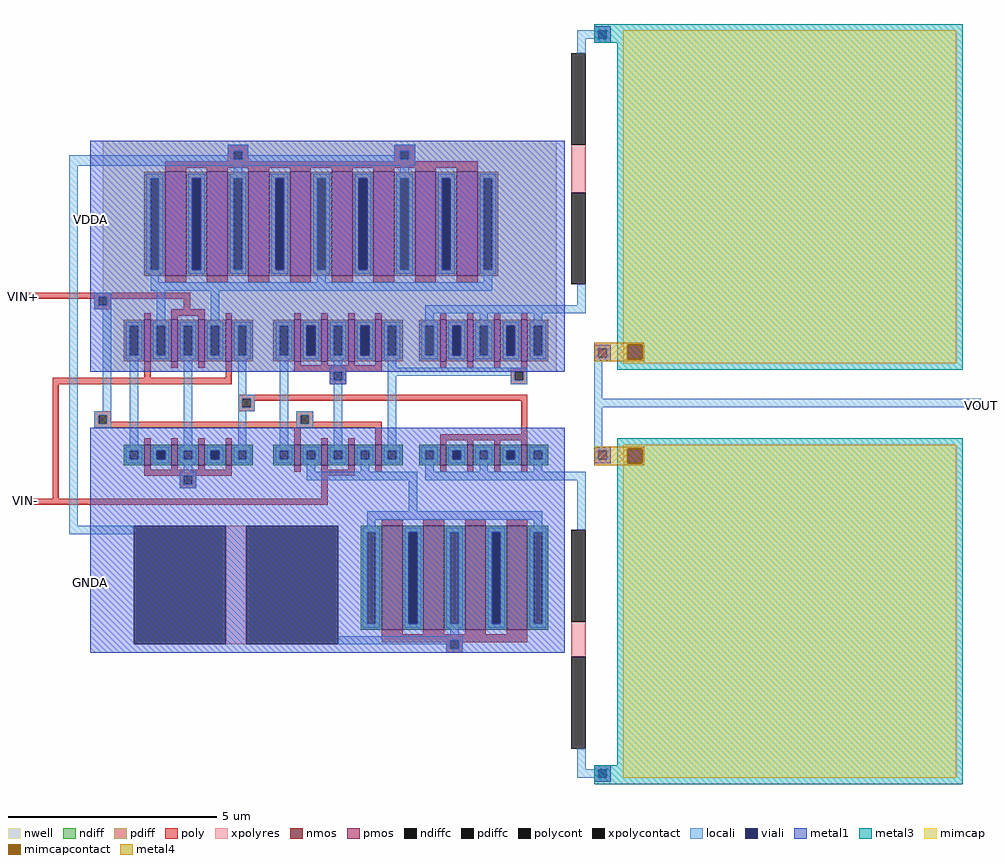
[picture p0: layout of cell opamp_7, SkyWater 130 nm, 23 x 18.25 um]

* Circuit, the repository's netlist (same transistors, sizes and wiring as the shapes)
* NGSPICE file created from opamp_7.ext - technology: sky130A

.subckt opamp_7
X0 a_2040_n1110# a_2040_n1110# VDDA w_1890_200# sky130_fd_pr__pfet_01v8 ad=0.625 pd=3 as=0.625 ps=3 w=2.5 l=0.5
X1 c1_4390_240# m3_4250_1780# sky130_fd_pr__cap_mim_m3_1 l=8 w=8
X2 a_2510_n250# a_2090_n300# GNDA VSUBS sky130_fd_pr__nfet_01v8 ad=0.25 pd=2 as=0.125 ps=1 w=0.5 l=0.15
X3 a_2810_200# VIN- a_2840_n250# VSUBS sky130_fd_pr__nfet_01v8 ad=0.125 pd=1 as=0.125 ps=1 w=0.5 l=0.15
X4 c1_4390_n1750# m3_4250_n1780# sky130_fd_pr__cap_mim_m3_1 l=8 w=8
X5 VDDA a_2040_n1110# a_2040_n1110# w_1890_200# sky130_fd_pr__pfet_01v8 ad=0.625 pd=3 as=0.625 ps=3 w=2.5 l=0.5
X6 a_2090_660# VIN- a_1990_n250# w_1890_200# sky130_fd_pr__pfet_01v8 ad=0.25 pd=1.5 as=0.5 ps=3 w=1 l=0.15
X7 a_3410_n250# a_2510_n250# GNDA VSUBS sky130_fd_pr__nfet_01v8 ad=0.25 pd=2 as=0.125 ps=1 w=0.5 l=0.15
X8 a_2510_n250# VIN- a_2090_660# w_1890_200# sky130_fd_pr__pfet_01v8 ad=0.5 pd=3 as=0.25 ps=1.5 w=1 l=0.15
X9 a_2840_n250# VIN+ a_2710_n250# VSUBS sky130_fd_pr__nfet_01v8 ad=0.125 pd=1 as=0.25 ps=2 w=0.5 l=0.15
X10 GNDA a_2580_n1110# a_2580_n1110# VSUBS sky130_fd_pr__nfet_01v8 ad=0.625 pd=3 as=0.625 ps=3 w=2.5 l=0.5
X11 GNDA a_2090_n300# a_2090_n300# VSUBS sky130_fd_pr__nfet_01v8 ad=0.125 pd=1 as=0.125 ps=1 w=0.5 l=0.15
X12 a_2090_660# VIN+ a_2090_n300# w_1890_200# sky130_fd_pr__pfet_01v8 ad=0.25 pd=1.5 as=0.25 ps=1.5 w=1 l=0.15
X13 a_2840_n250# VIN- a_2810_200# VSUBS sky130_fd_pr__nfet_01v8 ad=0.125 pd=1 as=0.125 ps=1 w=0.5 l=0.15
X14 VDDA a_2040_n1110# a_2090_660# w_1890_200# sky130_fd_pr__pfet_01v8 ad=0.625 pd=3 as=1.25 ps=6 w=2.5 l=0.5
X15 a_2090_n300# VIN+ a_2090_660# w_1890_200# sky130_fd_pr__pfet_01v8 ad=0.25 pd=1.5 as=0.25 ps=1.5 w=1 l=0.15
X16 VDDA a_3770_220# a_3410_250# w_1890_200# sky130_fd_pr__pfet_01v8 ad=0.25 pd=1.5 as=0.25 ps=1.5 w=1 l=0.15
X17 a_2090_n300# a_2090_n300# GNDA VSUBS sky130_fd_pr__nfet_01v8 ad=0.125 pd=1 as=0.125 ps=1 w=0.5 l=0.15
X18 a_3410_250# a_3640_220# VDDA w_1890_200# sky130_fd_pr__pfet_01v8 ad=0.25 pd=1.5 as=0.25 ps=1.5 w=1 l=0.15
X19 a_2580_n1110# a_2580_n1110# GNDA VSUBS sky130_fd_pr__nfet_01v8 ad=0.625 pd=3 as=0.625 ps=3 w=2.5 l=0.5
X20 VDDA a_2810_200# a_2810_200# w_1890_200# sky130_fd_pr__pfet_01v8 ad=0.25 pd=1.5 as=0.25 ps=1.5 w=1 l=0.15
X21 VDDA a_2040_n1110# a_2040_n1110# w_1890_200# sky130_fd_pr__pfet_01v8 ad=0.625 pd=3 as=0.625 ps=3 w=2.5 l=0.5
X22 VDDA a_3510_220# a_3410_250# w_1890_200# sky130_fd_pr__pfet_01v8 ad=0.25 pd=1.5 as=0.5 ps=3 w=1 l=0.15
X23 a_4140_1290# a_3410_250# VSUBS sky130_fd_pr__res_xhigh_po_0p35 l=1.31
X24 a_2090_660# a_2040_n1110# VDDA w_1890_200# sky130_fd_pr__pfet_01v8 ad=0.625 pd=3 as=0.625 ps=3 w=2.5 l=0.5
X25 a_3410_250# a_3230_n250# VDDA w_1890_200# sky130_fd_pr__pfet_01v8 ad=0.5 pd=3 as=0.25 ps=1.5 w=1 l=0.15
X26 GNDA a_2580_n1110# a_2840_n250# VSUBS sky130_fd_pr__nfet_01v8 ad=0.625 pd=3 as=1.25 ps=6 w=2.5 l=0.5
X27 GNDA a_2510_n250# a_3410_n250# VSUBS sky130_fd_pr__nfet_01v8 ad=0.125 pd=1 as=0.125 ps=1 w=0.5 l=0.15
X28 a_3230_n250# a_2810_200# VDDA w_1890_200# sky130_fd_pr__pfet_01v8 ad=0.5 pd=3 as=0.25 ps=1.5 w=1 l=0.15
X29 a_2040_n1110# a_2580_n1110# VSUBS sky130_fd_pr__res_xhigh_po_2p85 l=0.66
X30 a_2040_n1110# a_2040_n1110# VDDA w_1890_200# sky130_fd_pr__pfet_01v8 ad=0.625 pd=3 as=0.625 ps=3 w=2.5 l=0.5
X31 a_3410_n250# a_2510_n250# GNDA VSUBS sky130_fd_pr__nfet_01v8 ad=0.125 pd=1 as=0.125 ps=1 w=0.5 l=0.15
X32 a_2810_200# a_2810_200# VDDA w_1890_200# sky130_fd_pr__pfet_01v8 ad=0.25 pd=1.5 as=0.25 ps=1.5 w=1 l=0.15
X33 GNDA a_2090_n300# a_1990_n250# VSUBS sky130_fd_pr__nfet_01v8 ad=0.125 pd=1 as=0.25 ps=2 w=0.5 l=0.15
X34 VDDA a_2810_200# a_2710_n250# w_1890_200# sky130_fd_pr__pfet_01v8 ad=0.25 pd=1.5 as=0.5 ps=3 w=1 l=0.15
X35 a_2090_660# a_2040_n1110# VDDA w_1890_200# sky130_fd_pr__pfet_01v8 ad=1.25 pd=6 as=0.625 ps=3 w=2.5 l=0.5
X36 a_3230_n250# VIN+ a_2840_n250# VSUBS sky130_fd_pr__nfet_01v8 ad=0.25 pd=2 as=0.125 ps=1 w=0.5 l=0.15
X37 GNDA a_2510_n250# a_3410_n250# VSUBS sky130_fd_pr__nfet_01v8 ad=0.125 pd=1 as=0.25 ps=2 w=0.5 l=0.15
X38 VDDA a_2040_n1110# a_2090_660# w_1890_200# sky130_fd_pr__pfet_01v8 ad=0.625 pd=3 as=0.625 ps=3 w=2.5 l=0.5
X39 a_2840_n250# a_2580_n1110# GNDA VSUBS sky130_fd_pr__nfet_01v8 ad=1.25 pd=6 as=0.625 ps=3 w=2.5 l=0.5
X40 a_3410_n250# a_4140_n1610# VSUBS sky130_fd_pr__res_xhigh_po_0p35 l=1.01
.ends

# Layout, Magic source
magic
tech sky130A
<< nwell >>
rect 945 100 2035 655
<< nmos >>
rect 1045 -125 1060 -75
rect 1110 -125 1125 -75
rect 1175 -125 1190 -75
rect 1240 -125 1255 -75
rect 1405 -125 1420 -75
rect 1470 -125 1485 -75
rect 1535 -125 1550 -75
rect 1600 -125 1615 -75
rect 1755 -125 1770 -75
rect 1820 -125 1835 -75
rect 1885 -125 1900 -75
rect 1950 -125 1965 -75
rect 1615 -520 1665 -270
rect 1715 -520 1765 -270
rect 1815 -520 1865 -270
rect 1915 -520 1965 -270
<< pmos >>
rect 1095 330 1145 580
rect 1195 330 1245 580
rect 1295 330 1345 580
rect 1395 330 1445 580
rect 1495 330 1545 580
rect 1595 330 1645 580
rect 1695 330 1745 580
rect 1795 330 1845 580
rect 1045 125 1060 225
rect 1110 125 1125 225
rect 1175 125 1190 225
rect 1240 125 1255 225
rect 1405 125 1420 225
rect 1470 125 1485 225
rect 1535 125 1550 225
rect 1600 125 1615 225
rect 1755 125 1770 225
rect 1820 125 1835 225
rect 1885 125 1900 225
rect 1950 125 1965 225
<< ndiff >>
rect 995 -90 1045 -75
rect 995 -110 1010 -90
rect 1030 -110 1045 -90
rect 995 -125 1045 -110
rect 1060 -90 1110 -75
rect 1060 -110 1075 -90
rect 1095 -110 1110 -90
rect 1060 -125 1110 -110
rect 1125 -90 1175 -75
rect 1125 -110 1140 -90
rect 1160 -110 1175 -90
rect 1125 -125 1175 -110
rect 1190 -90 1240 -75
rect 1190 -110 1205 -90
rect 1225 -110 1240 -90
rect 1190 -125 1240 -110
rect 1255 -90 1305 -75
rect 1255 -110 1270 -90
rect 1290 -110 1305 -90
rect 1255 -125 1305 -110
rect 1355 -90 1405 -75
rect 1355 -110 1370 -90
rect 1390 -110 1405 -90
rect 1355 -125 1405 -110
rect 1420 -90 1470 -75
rect 1420 -110 1435 -90
rect 1455 -110 1470 -90
rect 1420 -125 1470 -110
rect 1485 -90 1535 -75
rect 1485 -110 1500 -90
rect 1520 -110 1535 -90
rect 1485 -125 1535 -110
rect 1550 -90 1600 -75
rect 1550 -110 1565 -90
rect 1585 -110 1600 -90
rect 1550 -125 1600 -110
rect 1615 -90 1665 -75
rect 1615 -110 1630 -90
rect 1650 -110 1665 -90
rect 1615 -125 1665 -110
rect 1705 -90 1755 -75
rect 1705 -110 1720 -90
rect 1740 -110 1755 -90
rect 1705 -125 1755 -110
rect 1770 -90 1820 -75
rect 1770 -110 1785 -90
rect 1805 -110 1820 -90
rect 1770 -125 1820 -110
rect 1835 -90 1885 -75
rect 1835 -110 1850 -90
rect 1870 -110 1885 -90
rect 1835 -125 1885 -110
rect 1900 -90 1950 -75
rect 1900 -110 1915 -90
rect 1935 -110 1950 -90
rect 1900 -125 1950 -110
rect 1965 -90 2015 -75
rect 1965 -110 1980 -90
rect 2000 -110 2015 -90
rect 1965 -125 2015 -110
rect 1565 -285 1615 -270
rect 1565 -505 1580 -285
rect 1600 -505 1615 -285
rect 1565 -520 1615 -505
rect 1665 -285 1715 -270
rect 1665 -505 1680 -285
rect 1700 -505 1715 -285
rect 1665 -520 1715 -505
rect 1765 -285 1815 -270
rect 1765 -505 1780 -285
rect 1800 -505 1815 -285
rect 1765 -520 1815 -505
rect 1865 -285 1915 -270
rect 1865 -505 1880 -285
rect 1900 -505 1915 -285
rect 1865 -520 1915 -505
rect 1965 -285 2015 -270
rect 1965 -505 1980 -285
rect 2000 -505 2015 -285
rect 1965 -520 2015 -505
<< pdiff >>
rect 1045 565 1095 580
rect 1045 345 1060 565
rect 1080 345 1095 565
rect 1045 330 1095 345
rect 1145 565 1195 580
rect 1145 345 1160 565
rect 1180 345 1195 565
rect 1145 330 1195 345
rect 1245 565 1295 580
rect 1245 345 1260 565
rect 1280 345 1295 565
rect 1245 330 1295 345
rect 1345 565 1395 580
rect 1345 345 1360 565
rect 1380 345 1395 565
rect 1345 330 1395 345
rect 1445 565 1495 580
rect 1445 345 1460 565
rect 1480 345 1495 565
rect 1445 330 1495 345
rect 1545 565 1595 580
rect 1545 345 1560 565
rect 1580 345 1595 565
rect 1545 330 1595 345
rect 1645 565 1695 580
rect 1645 345 1660 565
rect 1680 345 1695 565
rect 1645 330 1695 345
rect 1745 565 1795 580
rect 1745 345 1760 565
rect 1780 345 1795 565
rect 1745 330 1795 345
rect 1845 565 1895 580
rect 1845 345 1860 565
rect 1880 345 1895 565
rect 1845 330 1895 345
rect 995 210 1045 225
rect 995 140 1010 210
rect 1030 140 1045 210
rect 995 125 1045 140
rect 1060 210 1110 225
rect 1060 140 1075 210
rect 1095 140 1110 210
rect 1060 125 1110 140
rect 1125 210 1175 225
rect 1125 140 1140 210
rect 1160 140 1175 210
rect 1125 125 1175 140
rect 1190 210 1240 225
rect 1190 140 1205 210
rect 1225 140 1240 210
rect 1190 125 1240 140
rect 1255 210 1305 225
rect 1255 140 1270 210
rect 1290 140 1305 210
rect 1255 125 1305 140
rect 1355 210 1405 225
rect 1355 140 1370 210
rect 1390 140 1405 210
rect 1355 125 1405 140
rect 1420 210 1470 225
rect 1420 140 1435 210
rect 1455 140 1470 210
rect 1420 125 1470 140
rect 1485 210 1535 225
rect 1485 140 1500 210
rect 1520 140 1535 210
rect 1485 125 1535 140
rect 1550 210 1600 225
rect 1550 140 1565 210
rect 1585 140 1600 210
rect 1550 125 1600 140
rect 1615 210 1665 225
rect 1615 140 1630 210
rect 1650 140 1665 210
rect 1615 125 1665 140
rect 1705 210 1755 225
rect 1705 140 1720 210
rect 1740 140 1755 210
rect 1705 125 1755 140
rect 1770 210 1820 225
rect 1770 140 1785 210
rect 1805 140 1820 210
rect 1770 125 1820 140
rect 1835 210 1885 225
rect 1835 140 1850 210
rect 1870 140 1885 210
rect 1835 125 1885 140
rect 1900 210 1950 225
rect 1900 140 1915 210
rect 1935 140 1950 210
rect 1900 125 1950 140
rect 1965 210 2015 225
rect 1965 140 1980 210
rect 2000 140 2015 210
rect 1965 125 2015 140
<< ndiffc >>
rect 1010 -110 1030 -90
rect 1075 -110 1095 -90
rect 1140 -110 1160 -90
rect 1205 -110 1225 -90
rect 1270 -110 1290 -90
rect 1370 -110 1390 -90
rect 1435 -110 1455 -90
rect 1500 -110 1520 -90
rect 1565 -110 1585 -90
rect 1630 -110 1650 -90
rect 1720 -110 1740 -90
rect 1785 -110 1805 -90
rect 1850 -110 1870 -90
rect 1915 -110 1935 -90
rect 1980 -110 2000 -90
rect 1580 -505 1600 -285
rect 1680 -505 1700 -285
rect 1780 -505 1800 -285
rect 1880 -505 1900 -285
rect 1980 -505 2000 -285
<< pdiffc >>
rect 1060 345 1080 565
rect 1160 345 1180 565
rect 1260 345 1280 565
rect 1360 345 1380 565
rect 1460 345 1480 565
rect 1560 345 1580 565
rect 1660 345 1680 565
rect 1760 345 1780 565
rect 1860 345 1880 565
rect 1010 140 1030 210
rect 1075 140 1095 210
rect 1140 140 1160 210
rect 1205 140 1225 210
rect 1270 140 1290 210
rect 1370 140 1390 210
rect 1435 140 1455 210
rect 1500 140 1520 210
rect 1565 140 1585 210
rect 1630 140 1650 210
rect 1720 140 1740 210
rect 1785 140 1805 210
rect 1850 140 1870 210
rect 1915 140 1935 210
rect 1980 140 2000 210
<< poly >>
rect 1245 630 1295 645
rect 1245 610 1260 630
rect 1280 610 1295 630
rect 1245 605 1295 610
rect 1645 630 1695 645
rect 1645 610 1660 630
rect 1680 610 1695 630
rect 1645 605 1695 610
rect 1095 590 1845 605
rect 1095 580 1145 590
rect 1195 580 1245 590
rect 1295 580 1345 590
rect 1395 580 1445 590
rect 1495 580 1545 590
rect 1595 580 1645 590
rect 1695 580 1745 590
rect 1795 580 1845 590
rect 1095 315 1145 330
rect 1195 315 1245 330
rect 1295 315 1345 330
rect 1395 315 1445 330
rect 1495 315 1545 330
rect 1595 315 1645 330
rect 1695 315 1745 330
rect 1795 315 1845 330
rect 755 280 1155 290
rect 755 275 935 280
rect 925 260 935 275
rect 955 275 1155 280
rect 955 260 965 275
rect 925 250 965 260
rect 1140 250 1155 275
rect 1045 225 1060 240
rect 1110 235 1190 250
rect 1110 225 1125 235
rect 1175 225 1190 235
rect 1240 225 1255 240
rect 1405 225 1420 240
rect 1470 225 1485 240
rect 1535 225 1550 240
rect 1600 225 1615 240
rect 1755 225 1770 240
rect 1820 225 1835 240
rect 1885 225 1900 240
rect 1950 225 1965 240
rect 1045 85 1060 125
rect 1110 110 1125 125
rect 1175 110 1190 125
rect 1240 85 1255 125
rect 1405 115 1420 125
rect 1470 115 1485 125
rect 1535 115 1550 125
rect 1600 115 1615 125
rect 1405 100 1615 115
rect 1755 110 1770 125
rect 1820 110 1835 125
rect 1885 110 1900 125
rect 1950 110 1965 125
rect 1925 100 1965 110
rect 825 70 1255 85
rect 1490 80 1500 100
rect 1520 80 1530 100
rect 1490 70 1530 80
rect 1925 80 1935 100
rect 1955 80 1965 100
rect 1925 70 1965 80
rect 825 -205 840 70
rect 1270 35 1965 45
rect 1270 15 1280 35
rect 1300 30 1965 35
rect 1300 15 1310 30
rect 1270 5 1310 15
rect 925 -5 965 5
rect 925 -25 935 -5
rect 955 -20 965 -5
rect 1410 -5 1450 5
rect 1410 -20 1420 -5
rect 955 -25 1420 -20
rect 1440 -20 1450 -5
rect 1440 -25 1615 -20
rect 925 -35 1615 -25
rect 1045 -75 1060 -60
rect 1110 -75 1125 -60
rect 1175 -75 1190 -60
rect 1240 -75 1255 -60
rect 1405 -75 1420 -35
rect 1470 -75 1485 -60
rect 1535 -75 1550 -60
rect 1600 -75 1615 -35
rect 1950 -50 1965 30
rect 1755 -65 1965 -50
rect 1755 -75 1770 -65
rect 1820 -75 1835 -65
rect 1885 -75 1900 -65
rect 1950 -75 1965 -65
rect 1045 -135 1060 -125
rect 1110 -135 1125 -125
rect 1175 -135 1190 -125
rect 1240 -135 1255 -125
rect 1045 -150 1255 -135
rect 1405 -140 1420 -125
rect 1470 -135 1485 -125
rect 1535 -135 1550 -125
rect 1470 -150 1550 -135
rect 1600 -140 1615 -125
rect 1755 -140 1770 -125
rect 1820 -140 1835 -125
rect 1885 -140 1900 -125
rect 1950 -140 1965 -125
rect 1130 -170 1140 -150
rect 1160 -170 1170 -150
rect 1130 -180 1170 -170
rect 1470 -205 1485 -150
rect 760 -220 1485 -205
rect 1615 -270 1665 -255
rect 1715 -270 1765 -255
rect 1815 -270 1865 -255
rect 1915 -270 1965 -255
rect 1615 -530 1665 -520
rect 1715 -530 1765 -520
rect 1815 -530 1865 -520
rect 1915 -530 1965 -520
rect 1615 -545 1965 -530
rect 1615 -550 1780 -545
rect 1770 -565 1780 -550
rect 1800 -550 1965 -545
rect 1800 -565 1810 -550
rect 1770 -575 1810 -565
<< polycont >>
rect 1260 610 1280 630
rect 1660 610 1680 630
rect 935 260 955 280
rect 1500 80 1520 100
rect 1935 80 1955 100
rect 1280 15 1300 35
rect 935 -25 955 -5
rect 1420 -25 1440 -5
rect 1140 -170 1160 -150
rect 1780 -565 1800 -545
<< xpolycontact >>
rect 2070 645 2105 865
rect 2070 310 2105 530
rect 1020 -555 1240 -270
rect 1290 -555 1510 -270
rect 2070 -500 2105 -280
rect 2070 -805 2105 -585
<< xpolyres >>
rect 2070 530 2105 645
rect 1240 -555 1290 -270
rect 2070 -585 2105 -500
<< locali >>
rect 2125 920 2165 930
rect 2085 900 2135 920
rect 2155 900 2165 920
rect 2085 865 2105 900
rect 2125 890 2165 900
rect 1245 630 1295 645
rect 1245 620 1260 630
rect 865 610 1260 620
rect 1280 620 1295 630
rect 1645 630 1695 645
rect 1645 620 1660 630
rect 1280 610 1660 620
rect 1680 610 1695 630
rect 865 595 1695 610
rect 865 -270 885 595
rect 1260 575 1280 595
rect 1660 575 1680 595
rect 1050 565 1090 575
rect 1050 345 1060 565
rect 1080 345 1090 565
rect 1050 335 1090 345
rect 1150 565 1190 575
rect 1150 345 1160 565
rect 1180 345 1190 565
rect 1150 335 1190 345
rect 1250 565 1290 575
rect 1250 345 1260 565
rect 1280 345 1290 565
rect 1250 335 1290 345
rect 1350 565 1390 575
rect 1350 345 1360 565
rect 1380 345 1390 565
rect 1350 335 1390 345
rect 1450 565 1490 575
rect 1450 345 1460 565
rect 1480 345 1490 565
rect 1450 335 1490 345
rect 1550 565 1590 575
rect 1550 345 1560 565
rect 1580 345 1590 565
rect 1550 335 1590 345
rect 1650 565 1690 575
rect 1650 345 1660 565
rect 1680 345 1690 565
rect 1650 335 1690 345
rect 1750 565 1790 575
rect 1750 345 1760 565
rect 1780 345 1790 565
rect 1750 335 1790 345
rect 1850 565 1890 575
rect 1850 345 1860 565
rect 1880 345 1890 565
rect 1850 335 1890 345
rect 1060 315 1080 335
rect 1460 315 1480 335
rect 1860 315 1880 335
rect 1060 295 1880 315
rect 925 280 965 290
rect 925 260 935 280
rect 955 260 965 280
rect 925 250 965 260
rect 945 5 965 250
rect 1075 220 1095 295
rect 1205 220 1225 295
rect 2085 260 2105 310
rect 1720 240 2105 260
rect 1720 220 1740 240
rect 1850 220 1870 240
rect 1980 220 2000 240
rect 1000 210 1040 220
rect 1000 140 1010 210
rect 1030 140 1040 210
rect 1000 130 1040 140
rect 1065 210 1105 220
rect 1065 140 1075 210
rect 1095 140 1105 210
rect 1065 130 1105 140
rect 1130 210 1170 220
rect 1130 140 1140 210
rect 1160 140 1170 210
rect 1130 130 1170 140
rect 1195 210 1235 220
rect 1195 140 1205 210
rect 1225 140 1235 210
rect 1195 130 1235 140
rect 1260 210 1300 220
rect 1260 140 1270 210
rect 1290 140 1300 210
rect 1260 130 1300 140
rect 1360 210 1400 220
rect 1360 140 1370 210
rect 1390 140 1400 210
rect 1360 130 1400 140
rect 1425 210 1465 220
rect 1425 140 1435 210
rect 1455 140 1465 210
rect 1425 130 1465 140
rect 1490 210 1530 220
rect 1490 140 1500 210
rect 1520 140 1530 210
rect 1490 130 1530 140
rect 1555 210 1595 220
rect 1555 140 1565 210
rect 1585 140 1595 210
rect 1555 130 1595 140
rect 1620 210 1660 220
rect 1620 140 1630 210
rect 1650 140 1660 210
rect 1620 130 1660 140
rect 1710 210 1750 220
rect 1710 140 1720 210
rect 1740 140 1750 210
rect 1710 130 1750 140
rect 1775 210 1815 220
rect 1775 140 1785 210
rect 1805 140 1815 210
rect 1775 130 1815 140
rect 1840 210 1880 220
rect 1840 140 1850 210
rect 1870 140 1880 210
rect 1840 130 1880 140
rect 1905 210 1945 220
rect 1905 140 1915 210
rect 1935 140 1945 210
rect 1905 130 1945 140
rect 1970 210 2010 220
rect 1970 140 1980 210
rect 2000 140 2010 210
rect 1970 130 2010 140
rect 2125 155 2165 165
rect 2125 135 2135 155
rect 2155 135 2165 155
rect 925 -5 965 5
rect 925 -25 935 -5
rect 955 -25 965 -5
rect 925 -35 965 -25
rect 1010 -80 1030 130
rect 1140 -80 1160 130
rect 1270 45 1290 130
rect 1270 35 1310 45
rect 1270 15 1280 35
rect 1300 15 1310 35
rect 1270 5 1310 15
rect 1270 -80 1290 5
rect 1370 -80 1390 130
rect 1500 110 1520 130
rect 1630 110 1650 130
rect 2125 125 2165 135
rect 1490 100 1530 110
rect 1490 80 1500 100
rect 1520 80 1530 100
rect 1490 70 1530 80
rect 1630 100 1965 110
rect 1630 90 1935 100
rect 1410 -5 1450 5
rect 1410 -25 1420 -5
rect 1440 -25 1450 -5
rect 1410 -35 1450 -25
rect 1500 -80 1520 70
rect 1630 -80 1650 90
rect 1925 80 1935 90
rect 1955 80 1965 100
rect 1925 70 1965 80
rect 2125 35 2145 125
rect 2125 15 3055 35
rect 2125 -80 2145 15
rect 1000 -90 1040 -80
rect 1000 -110 1010 -90
rect 1030 -110 1040 -90
rect 1000 -120 1040 -110
rect 1065 -90 1105 -80
rect 1065 -110 1075 -90
rect 1095 -110 1105 -90
rect 1065 -120 1105 -110
rect 1130 -90 1170 -80
rect 1130 -110 1140 -90
rect 1160 -110 1170 -90
rect 1130 -120 1170 -110
rect 1195 -90 1235 -80
rect 1195 -110 1205 -90
rect 1225 -110 1235 -90
rect 1195 -120 1235 -110
rect 1260 -90 1300 -80
rect 1260 -110 1270 -90
rect 1290 -110 1300 -90
rect 1260 -120 1300 -110
rect 1360 -90 1400 -80
rect 1360 -110 1370 -90
rect 1390 -110 1400 -90
rect 1360 -120 1400 -110
rect 1425 -90 1465 -80
rect 1425 -110 1435 -90
rect 1455 -110 1465 -90
rect 1425 -120 1465 -110
rect 1490 -90 1530 -80
rect 1490 -110 1500 -90
rect 1520 -110 1530 -90
rect 1490 -120 1530 -110
rect 1555 -90 1595 -80
rect 1555 -110 1565 -90
rect 1585 -110 1595 -90
rect 1555 -120 1595 -110
rect 1620 -90 1660 -80
rect 1620 -110 1630 -90
rect 1650 -110 1660 -90
rect 1620 -120 1660 -110
rect 1710 -90 1750 -80
rect 1710 -110 1720 -90
rect 1740 -110 1750 -90
rect 1710 -120 1750 -110
rect 1775 -90 1815 -80
rect 1775 -110 1785 -90
rect 1805 -110 1815 -90
rect 1775 -120 1815 -110
rect 1840 -90 1880 -80
rect 1840 -110 1850 -90
rect 1870 -110 1880 -90
rect 1840 -120 1880 -110
rect 1905 -90 1945 -80
rect 1905 -110 1915 -90
rect 1935 -110 1945 -90
rect 1905 -120 1945 -110
rect 1970 -90 2010 -80
rect 1970 -110 1980 -90
rect 2000 -110 2010 -90
rect 1970 -120 2010 -110
rect 2125 -90 2165 -80
rect 2125 -110 2135 -90
rect 2155 -110 2165 -90
rect 2125 -120 2165 -110
rect 1140 -140 1160 -120
rect 1435 -140 1455 -120
rect 1565 -140 1585 -120
rect 1720 -140 1740 -120
rect 1850 -140 1870 -120
rect 1980 -140 2000 -120
rect 1130 -150 1170 -140
rect 1130 -170 1140 -150
rect 1160 -170 1170 -150
rect 1435 -160 1700 -140
rect 1720 -160 2105 -140
rect 1130 -180 1170 -170
rect 1680 -235 1700 -160
rect 1580 -255 2000 -235
rect 865 -290 1020 -270
rect 1580 -275 1600 -255
rect 1980 -275 2000 -255
rect 1570 -285 1610 -275
rect 1570 -505 1580 -285
rect 1600 -505 1610 -285
rect 1570 -515 1610 -505
rect 1670 -285 1710 -275
rect 1670 -505 1680 -285
rect 1700 -505 1710 -285
rect 1670 -515 1710 -505
rect 1770 -285 1810 -275
rect 1770 -505 1780 -285
rect 1800 -505 1810 -285
rect 1770 -515 1810 -505
rect 1870 -285 1910 -275
rect 1870 -505 1880 -285
rect 1900 -505 1910 -285
rect 1870 -515 1910 -505
rect 1970 -285 2010 -275
rect 2085 -280 2105 -160
rect 1970 -505 1980 -285
rect 2000 -505 2010 -285
rect 1970 -515 2010 -505
rect 1780 -535 1800 -515
rect 1510 -545 1810 -535
rect 1510 -555 1780 -545
rect 1770 -565 1780 -555
rect 1800 -565 1810 -545
rect 1770 -575 1810 -565
rect 2085 -855 2105 -805
rect 2125 -855 2165 -845
rect 2085 -875 2135 -855
rect 2155 -875 2165 -855
rect 2125 -885 2165 -875
<< viali >>
rect 2135 900 2155 920
rect 1160 345 1180 565
rect 1360 345 1380 565
rect 1560 345 1580 565
rect 1760 345 1780 565
rect 1435 140 1455 210
rect 1565 140 1585 210
rect 1785 140 1805 210
rect 1915 140 1935 210
rect 2135 135 2155 155
rect 1075 -110 1095 -90
rect 1205 -110 1225 -90
rect 1785 -110 1805 -90
rect 1915 -110 1935 -90
rect 2135 -110 2155 -90
rect 1680 -505 1700 -285
rect 1880 -505 1900 -285
rect 2135 -875 2155 -855
<< metal1 >>
rect 2125 920 2165 930
rect 2125 900 2135 920
rect 2155 900 2165 920
rect 2125 890 2165 900
rect 915 565 2055 655
rect 915 345 1160 565
rect 1180 345 1360 565
rect 1380 345 1560 565
rect 1580 345 1760 565
rect 1780 345 2055 565
rect 915 210 2055 345
rect 915 140 1435 210
rect 1455 140 1565 210
rect 1585 140 1785 210
rect 1805 140 1915 210
rect 1935 140 2055 210
rect 915 100 2055 140
rect 2125 155 2165 165
rect 2125 135 2135 155
rect 2155 135 2165 155
rect 2125 125 2165 135
rect 1490 70 1530 100
rect 915 -90 2055 -35
rect 915 -110 1075 -90
rect 1095 -110 1205 -90
rect 1225 -110 1785 -90
rect 1805 -110 1915 -90
rect 1935 -110 2055 -90
rect 915 -285 2055 -110
rect 2125 -90 2165 -80
rect 2125 -110 2135 -90
rect 2155 -110 2165 -90
rect 2125 -120 2165 -110
rect 915 -505 1680 -285
rect 1700 -505 1880 -285
rect 1900 -505 2055 -285
rect 915 -575 2055 -505
rect 2125 -855 2165 -845
rect 2125 -875 2135 -855
rect 2155 -875 2165 -855
rect 2125 -885 2165 -875
<< metal3 >>
rect 2125 890 3010 935
rect 2180 105 3010 890
rect 2180 -845 3010 -60
rect 2125 -890 3010 -845
<< mimcap >>
rect 2195 165 2995 920
rect 2195 130 2205 165
rect 2240 130 2995 165
rect 2195 120 2995 130
rect 2195 -85 2995 -75
rect 2195 -120 2205 -85
rect 2240 -120 2995 -85
rect 2195 -875 2995 -120
<< mimcapcontact >>
rect 2205 130 2240 165
rect 2205 -120 2240 -85
<< metal4 >>
rect 2125 165 2245 170
rect 2125 130 2205 165
rect 2240 130 2245 165
rect 2125 125 2245 130
rect 2125 -85 2245 -80
rect 2125 -120 2205 -85
rect 2240 -120 2245 -85
rect 2125 -125 2245 -120
<< labels >>
flabel poly 760 -210 760 -210 7 FreeSans 400 0 0 0 VIN-
flabel poly 755 280 755 280 7 FreeSans 400 0 0 0 VIN+
flabel locali 3055 20 3055 20 3 FreeSans 400 0 0 0 VOUT
flabel metal1 915 -405 915 -405 7 FreeSans 400 0 0 0 GNDA
flabel metal1 915 465 915 465 7 FreeSans 400 0 0 0 VDDA
<< end >>
